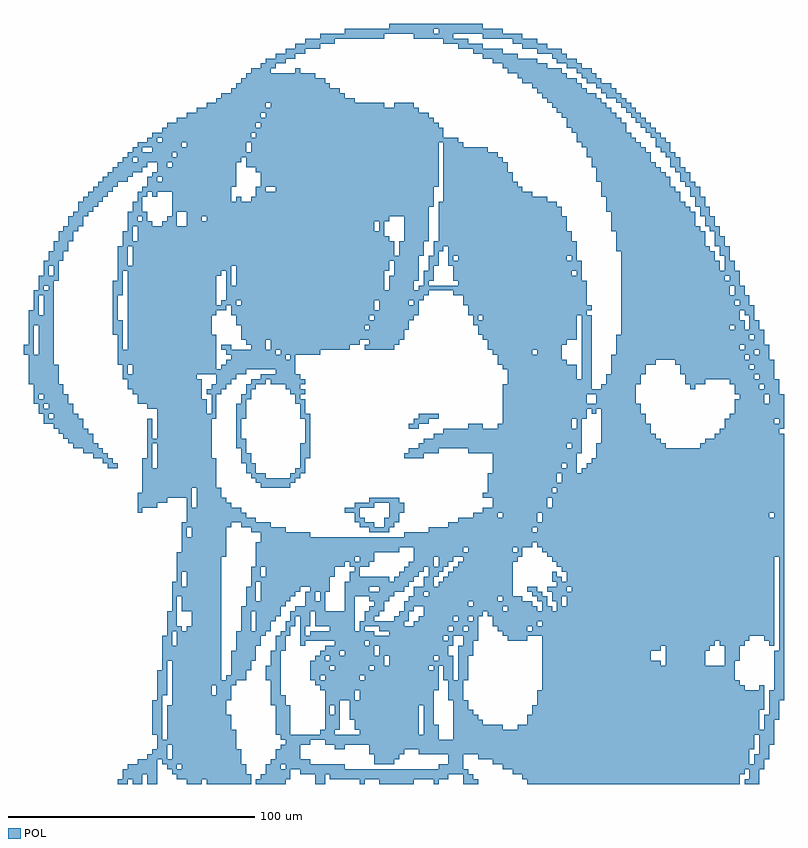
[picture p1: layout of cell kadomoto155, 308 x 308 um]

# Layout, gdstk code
import gdstk
lib = gdstk.Library(unit=1e-6, precision=1e-09)
def R(c, l, rs):  # rectangles x0, y0, x1, y1
    for r in rs: c.add(gdstk.rectangle(r[:2], r[2:], *l))
def A(c, l, x, y, w, h, nx, ny, dx, dy):  # array of equal rectangles
    R(c, l, [(x+i*dx, y+j*dy, x+i*dx+w, y+j*dy+h) for i in range(nx) for j in range(ny)])
POL = (7, 0)

kadomoto155 = lib.new_cell('kadomoto155')
A(kadomoto155, POL, 38, -310, 4, 2, 3, 1, 6, 0)
A(kadomoto155, POL, 52, -290, 4, 2, 1, 7, 0, 2)
A(kadomoto155, POL, 102, -290, 6, 2, 1, 6, 0, 2)
A(kadomoto155, POL, 58, -288, 26, 2, 1, 3, 0, 2)
A(kadomoto155, POL, 122, -288, 6, 2, 1, 3, 0, 2)
A(kadomoto155, POL, 162, -286, 4, 2, 1, 4, 0, 2)
A(kadomoto155, POL, 132, -284, 28, 2, 1, 3, 0, 2)
A(kadomoto155, POL, 302, -282, 4, 2, 1, 3, 0, 2)
A(kadomoto155, POL, 208, -278, 92, 2, 1, 3, 0, 2)
A(kadomoto155, POL, 172, -276, 6, 2, 1, 4, 0, 2)
A(kadomoto155, POL, 54, -274, 4, 2, 1, 5, 0, 2)
A(kadomoto155, POL, 100, -274, 4, 2, 1, 3, 0, 2)
A(kadomoto155, POL, 304, -272, 4, 2, 1, 8, 0, 2)
A(kadomoto155, POL, 60, -268, 20, 2, 1, 4, 0, 2)
A(kadomoto155, POL, 98, -268, 6, 2, 1, 3, 0, 2)
A(kadomoto155, POL, 170, -268, 4, 2, 1, 3, 0, 2)
A(kadomoto155, POL, 176, -268, 4, 2, 1, 5, 0, 2)
A(kadomoto155, POL, 210, -268, 78, 2, 1, 3, 0, 2)
A(kadomoto155, POL, 100, -262, 4, 2, 1, 3, 0, 2)
A(kadomoto155, POL, 260, -262, 16, 2, 1, 3, 0, 2)
A(kadomoto155, POL, 56, -260, 24, 2, 1, 3, 0, 2)
A(kadomoto155, POL, 284, -260, 6, 2, 1, 3, 0, 2)
A(kadomoto155, POL, 102, -256, 4, 2, 1, 3, 0, 2)
A(kadomoto155, POL, 306, -256, 2, 2, 1, 19, 0, 2)
A(kadomoto155, POL, 62, -254, 18, 2, 1, 3, 0, 2)
A(kadomoto155, POL, 88, -248, 4, 2, 1, 4, 0, 2)
A(kadomoto155, POL, 58, -246, 4, 2, 1, 3, 0, 2)
A(kadomoto155, POL, 68, -246, 12, 2, 1, 3, 0, 2)
A(kadomoto155, POL, 118, -246, 16, 2, 1, 3, 0, 2)
A(kadomoto155, POL, 60, -240, 2, 2, 1, 3, 0, 2)
A(kadomoto155, POL, 64, -240, 16, 2, 1, 3, 0, 2)
A(kadomoto155, POL, 130, -240, 4, 2, 1, 3, 0, 2)
A(kadomoto155, POL, 90, -236, 4, 2, 1, 3, 0, 2)
A(kadomoto155, POL, 66, -230, 14, 2, 1, 3, 0, 2)
A(kadomoto155, POL, 62, -224, 18, 2, 1, 3, 0, 2)
A(kadomoto155, POL, 64, -216, 18, 2, 1, 3, 0, 2)
A(kadomoto155, POL, 48, -190, 30, 2, 1, 4, 0, 2)
A(kadomoto155, POL, 50, -178, 2, 2, 1, 3, 0, 2)
A(kadomoto155, POL, 54, -178, 22, 2, 1, 3, 0, 2)
A(kadomoto155, POL, 112, -178, 4, 2, 1, 3, 0, 2)
A(kadomoto155, POL, 114, -172, 2, 2, 1, 5, 0, 2)
A(kadomoto155, POL, 50, -170, 2, 2, 1, 4, 0, 2)
A(kadomoto155, POL, 54, -170, 22, 2, 1, 4, 0, 2)
A(kadomoto155, POL, 86, -170, 2, 2, 1, 4, 0, 2)
A(kadomoto155, POL, 86, -162, 4, 2, 1, 3, 0, 2)
A(kadomoto155, POL, 76, -160, 2, 2, 1, 4, 0, 2)
A(kadomoto155, POL, 2, -148, 12, 2, 1, 4, 0, 2)
A(kadomoto155, POL, 226, -146, 4, 2, 1, 13, 0, 2)
A(kadomoto155, POL, 38, -140, 40, 2, 1, 3, 0, 2)
A(kadomoto155, POL, 6, -136, 6, 2, 1, 6, 0, 2)
A(kadomoto155, POL, 38, -134, 2, 2, 1, 3, 0, 2)
A(kadomoto155, POL, 42, -134, 36, 2, 1, 3, 0, 2)
A(kadomoto155, POL, 2, -132, 2, 2, 1, 4, 0, 2)
A(kadomoto155, POL, 36, -128, 4, 2, 1, 3, 0, 2)
A(kadomoto155, POL, 42, -128, 34, 2, 1, 4, 0, 2)
A(kadomoto155, POL, 36, -122, 2, 2, 1, 5, 0, 2)
A(kadomoto155, POL, 8, -120, 4, 2, 1, 4, 0, 2)
A(kadomoto155, POL, 4, -118, 2, 2, 1, 3, 0, 2)
A(kadomoto155, POL, 42, -116, 36, 2, 1, 6, 0, 2)
A(kadomoto155, POL, 36, -112, 4, 2, 1, 3, 0, 2)
A(kadomoto155, POL, 82, -108, 2, 2, 1, 3, 0, 2)
A(kadomoto155, POL, 86, -108, 60, 2, 1, 3, 0, 2)
A(kadomoto155, POL, 150, -104, 10, 2, 1, 3, 0, 2)
A(kadomoto155, POL, 38, -100, 4, 2, 1, 4, 0, 2)
A(kadomoto155, POL, 152, -96, 10, 2, 1, 3, 0, 2)
A(kadomoto155, POL, 240, -92, 36, 2, 1, 3, 0, 2)
A(kadomoto155, POL, 154, -90, 10, 2, 1, 5, 0, 2)
A(kadomoto155, POL, 168, -86, 52, 2, 1, 3, 0, 2)
A(kadomoto155, POL, 238, -84, 34, 2, 1, 3, 0, 2)
A(kadomoto155, POL, 96, -68, 72, 2, 1, 3, 0, 2)
R(kadomoto155, POL, [(66,-310,72,-308), (74,-310,92,-308), (94,-310,106,-308), (118,-310,122,-308), (136,-310,138,-308), (144,-310,158,-308), (166,-310,168,-308), (178,-310,184,-308), (204,-310,290,-308), (292,-310,298,-308), (40,-308,48,-306), (50,-308,54,-306), (62,-308,92,-306), (96,-308,108,-306), (118,-308,122,-306), (124,-308,172,-306), (178,-308,182,-306), (202,-308,290,-306), (294,-308,298,-306), (40,-306,54,-304), (60,-306,90,-304), (98,-306,108,-304), (112,-306,180,-304), (198,-306,292,-304), (294,-306,298,-304), (42,-304,54,-302), (58,-304,62,-302), (64,-304,90,-302), (98,-304,104,-302), (106,-304,130,-302), (168,-304,178,-302), (194,-304,300,-302), (46,-302,54,-300), (56,-302,88,-300), (100,-302,116,-300), (142,-302,150,-300), (172,-302,178,-300), (190,-302,294,-300), (296,-302,300,-300), (50,-300,58,-298), (60,-300,88,-298), (102,-300,112,-298), (142,-300,152,-298), (172,-300,178,-298), (184,-300,294,-298), (296,-300,302,-298), (52,-298,58,-296), (60,-298,88,-296), (102,-298,112,-296), (140,-298,154,-296), (160,-298,294,-296), (298,-298,302,-296), (54,-296,58,-294), (60,-296,86,-294), (104,-296,112,-294), (126,-296,130,-294), (140,-296,296,-294), (298,-296,302,-294), (54,-294,86,-292), (106,-294,116,-292), (122,-294,296,-292), (298,-294,304,-292), (54,-292,56,-290), (58,-292,86,-290), (104,-292,168,-290), (174,-292,296,-290), (298,-292,304,-290), (58,-290,86,-288), (120,-290,126,-288), (136,-290,160,-288), (162,-290,168,-288), (174,-290,304,-288), (134,-288,160,-286), (162,-288,168,-286), (174,-288,194,-286), (200,-288,298,-286), (300,-288,304,-286), (134,-286,160,-284), (174,-286,186,-284), (204,-286,298,-284), (300,-286,304,-284), (174,-284,184,-282), (204,-284,298,-282), (300,-284,306,-282), (58,-282,82,-280), (122,-282,124,-280), (126,-282,128,-280), (174,-282,182,-280), (206,-282,298,-280), (58,-280,82,-278), (122,-280,124,-278), (126,-280,128,-278), (174,-280,180,-278), (206,-280,300,-278), (60,-278,82,-276), (100,-278,106,-276), (122,-278,128,-276), (132,-278,166,-276), (174,-278,180,-276), (54,-276,56,-274), (60,-276,84,-274), (100,-276,106,-274), (122,-276,134,-274), (136,-276,166,-274), (302,-276,308,-274), (60,-274,76,-272), (78,-274,84,-272), (122,-274,134,-272), (136,-274,166,-272), (302,-274,308,-272), (60,-272,76,-270), (78,-272,84,-270), (120,-272,168,-270), (210,-272,292,-270), (298,-272,300,-270), (60,-270,86,-268), (118,-270,168,-268), (210,-270,290,-268), (82,-268,90,-266), (116,-268,120,-266), (122,-268,136,-266), (138,-268,168,-266), (84,-266,90,-264), (116,-266,168,-264), (56,-264,58,-262), (84,-264,92,-262), (116,-264,124,-262), (126,-264,140,-262), (142,-264,164,-262), (166,-264,168,-262), (56,-262,58,-260), (84,-262,92,-260), (116,-262,146,-260), (148,-262,174,-260), (210,-262,258,-260), (284,-262,288,-260), (84,-260,94,-258), (118,-260,122,-258), (124,-260,146,-258), (148,-260,166,-258), (168,-260,174,-258), (210,-260,254,-258), (84,-258,94,-256), (120,-258,128,-256), (130,-258,142,-256), (144,-258,172,-256), (176,-258,182,-256), (210,-258,254,-256), (86,-256,94,-254), (122,-256,142,-254), (144,-256,172,-254), (176,-256,182,-254), (210,-256,258,-254), (260,-256,278,-254), (56,-254,60,-252), (86,-254,96,-252), (112,-254,114,-252), (126,-254,138,-252), (140,-254,174,-252), (178,-254,182,-252), (210,-254,280,-252), (282,-254,292,-252), (302,-254,304,-252), (56,-252,60,-250), (86,-252,96,-250), (112,-252,170,-250), (172,-252,174,-250), (178,-252,184,-250), (196,-252,204,-250), (210,-252,294,-250), (300,-252,304,-250), (58,-250,60,-248), (86,-250,98,-248), (104,-250,108,-248), (112,-250,114,-248), (116,-250,142,-248), (148,-250,184,-248), (194,-250,304,-248), (58,-248,64,-246), (66,-248,80,-246), (94,-248,100,-246), (106,-248,108,-246), (112,-248,114,-246), (124,-248,134,-246), (136,-248,138,-246), (144,-248,172,-246), (174,-248,178,-246), (180,-248,184,-246), (192,-248,204,-246), (206,-248,304,-246), (94,-246,100,-244), (106,-246,110,-244), (112,-246,116,-244), (136,-246,154,-244), (158,-246,184,-244), (190,-246,208,-244), (210,-246,304,-244), (94,-244,102,-242), (108,-244,110,-242), (112,-244,116,-242), (138,-244,142,-242), (150,-244,156,-242), (160,-244,174,-242), (176,-244,180,-242), (182,-244,184,-242), (190,-244,304,-242), (94,-242,104,-240), (108,-242,116,-240), (138,-242,144,-240), (152,-242,156,-240), (162,-242,186,-240), (188,-242,304,-240), (88,-240,104,-238), (110,-240,122,-238), (140,-240,146,-238), (154,-240,158,-238), (162,-240,194,-238), (196,-240,208,-238), (210,-240,214,-238), (216,-240,304,-238), (90,-238,106,-236), (114,-238,122,-236), (142,-238,146,-236), (154,-238,180,-236), (182,-238,206,-236), (210,-238,212,-236), (216,-238,218,-236), (220,-238,304,-236), (96,-236,108,-234), (114,-236,118,-234), (120,-236,122,-234), (140,-236,148,-234), (156,-236,192,-234), (194,-236,202,-234), (208,-236,212,-234), (214,-236,218,-234), (220,-236,304,-234), (60,-234,80,-232), (96,-234,110,-232), (114,-234,118,-232), (120,-234,122,-232), (130,-234,150,-232), (158,-234,162,-232), (164,-234,198,-232), (206,-234,210,-232), (214,-234,304,-232), (60,-232,80,-230), (96,-232,112,-230), (116,-232,124,-230), (130,-232,140,-230), (144,-232,154,-230), (158,-232,198,-230), (204,-232,208,-230), (212,-232,220,-230), (222,-232,304,-230), (60,-230,64,-228), (92,-230,94,-228), (96,-230,124,-228), (130,-230,156,-228), (162,-230,166,-228), (168,-230,198,-228), (216,-230,304,-228), (62,-228,64,-226), (92,-228,124,-226), (132,-228,148,-226), (150,-228,158,-226), (162,-228,166,-226), (170,-228,198,-226), (214,-228,218,-226), (220,-228,304,-226), (62,-226,64,-224), (92,-226,96,-224), (98,-226,126,-224), (132,-226,136,-224), (152,-226,160,-224), (164,-226,168,-224), (172,-226,198,-224), (214,-226,216,-224), (220,-226,304,-224), (92,-224,96,-222), (98,-224,126,-222), (134,-224,136,-222), (154,-224,162,-222), (164,-224,170,-222), (174,-224,198,-222), (218,-224,304,-222), (94,-222,130,-220), (132,-222,140,-220), (156,-222,166,-220), (168,-222,172,-220), (176,-222,198,-220), (216,-222,304,-220), (94,-220,134,-218), (136,-220,142,-218), (158,-220,166,-218), (168,-220,174,-218), (178,-220,200,-218), (214,-220,304,-218), (62,-218,82,-216), (94,-218,142,-216), (158,-218,202,-216), (212,-218,308,-216), (94,-216,152,-214), (158,-216,178,-214), (180,-216,198,-214), (200,-216,202,-214), (210,-216,308,-214), (94,-214,206,-212), (208,-214,308,-212), (96,-212,308,-210), (64,-210,66,-208), (68,-210,82,-208), (96,-210,116,-208), (154,-210,308,-208), (64,-208,66,-206), (68,-208,82,-206), (92,-208,106,-206), (140,-208,148,-206), (164,-208,206,-206), (208,-208,308,-206), (64,-206,84,-204), (88,-206,100,-204), (136,-206,142,-204), (146,-206,150,-204), (172,-206,308,-204), (66,-204,94,-202), (134,-204,138,-202), (146,-204,152,-202), (176,-204,208,-202), (210,-204,308,-202), (66,-202,90,-200), (134,-202,136,-200), (148,-202,152,-200), (182,-202,192,-200), (194,-202,208,-200), (210,-202,302,-200), (304,-202,308,-200), (46,-200,48,-198), (66,-200,88,-198), (130,-200,136,-198), (148,-200,154,-198), (186,-200,308,-198), (46,-198,54,-196), (66,-198,68,-196), (70,-198,84,-196), (134,-198,142,-196), (148,-198,154,-196), (190,-198,212,-196), (214,-198,308,-196), (46,-196,58,-194), (66,-196,68,-194), (70,-196,82,-194), (140,-196,152,-194), (190,-196,212,-194), (214,-196,308,-194), (46,-194,68,-192), (70,-194,80,-192), (186,-194,308,-192), (48,-192,68,-190), (70,-192,80,-190), (188,-192,214,-190), (216,-192,308,-190), (96,-190,108,-188), (188,-190,308,-188), (94,-188,110,-186), (188,-188,216,-186), (218,-188,308,-186), (92,-186,98,-184), (108,-186,112,-184), (188,-186,216,-184), (218,-186,308,-184), (90,-184,94,-182), (110,-184,114,-182), (190,-184,224,-182), (226,-184,308,-182), (34,-182,38,-180), (48,-182,52,-180), (54,-182,78,-180), (90,-182,94,-180), (112,-182,114,-180), (190,-182,218,-180), (220,-182,224,-180), (228,-182,308,-180), (32,-180,36,-178), (48,-180,52,-178), (54,-180,78,-178), (88,-180,92,-178), (112,-180,114,-178), (190,-180,224,-178), (230,-180,308,-178), (28,-178,34,-176), (88,-178,92,-176), (154,-178,162,-176), (190,-178,224,-176), (232,-178,308,-176), (24,-176,32,-174), (88,-176,90,-174), (156,-176,168,-174), (180,-176,226,-174), (232,-176,308,-174), (20,-174,30,-172), (86,-174,90,-172), (160,-174,220,-172), (222,-174,226,-172), (232,-174,260,-172), (274,-174,308,-172), (18,-172,28,-170), (50,-172,76,-170), (86,-172,90,-170), (162,-172,226,-170), (234,-172,258,-170), (276,-172,308,-170), (16,-170,28,-168), (166,-170,226,-168), (234,-170,256,-168), (280,-170,308,-168), (14,-168,26,-166), (170,-168,226,-166), (234,-168,254,-166), (282,-168,306,-166), (12,-166,24,-164), (156,-166,160,-164), (180,-166,186,-164), (192,-166,222,-164), (224,-166,226,-164), (234,-166,254,-164), (284,-166,308,-164), (8,-164,24,-162), (158,-164,164,-162), (194,-164,222,-162), (224,-164,226,-162), (234,-164,252,-162), (284,-164,304,-162), (306,-164,308,-162), (8,-162,10,-160), (12,-162,22,-160), (54,-162,78,-160), (112,-162,116,-160), (160,-162,168,-160), (194,-162,228,-160), (234,-162,252,-160), (286,-162,308,-160), (6,-160,20,-158), (54,-160,74,-158), (112,-160,114,-158), (194,-160,228,-158), (230,-160,232,-158), (234,-160,250,-158), (288,-160,308,-158), (6,-158,8,-156), (10,-158,20,-156), (50,-158,74,-156), (112,-158,114,-156), (194,-158,250,-156), (288,-158,308,-156), (4,-156,18,-154), (46,-156,74,-154), (88,-156,90,-154), (110,-156,114,-154), (194,-156,228,-154), (232,-156,248,-154), (288,-156,300,-154), (302,-156,308,-154), (4,-154,6,-152), (8,-154,18,-152), (46,-154,72,-152), (88,-154,92,-152), (110,-154,112,-152), (194,-154,228,-152), (232,-154,248,-152), (290,-154,300,-152), (302,-154,308,-152), (4,-152,16,-150), (44,-152,72,-150), (74,-152,80,-150), (90,-152,92,-150), (108,-152,114,-150), (194,-152,248,-150), (288,-152,306,-150), (4,-150,16,-148), (42,-150,72,-148), (76,-150,82,-148), (90,-150,94,-148), (106,-150,112,-148), (194,-150,230,-148), (234,-150,248,-148), (270,-150,272,-148), (288,-150,298,-148), (300,-150,306,-148), (42,-148,72,-146), (78,-148,84,-146), (92,-148,98,-146), (100,-148,114,-146), (196,-148,230,-146), (236,-148,250,-146), (268,-148,276,-146), (286,-148,306,-146), (40,-146,70,-144), (78,-146,86,-144), (96,-146,112,-144), (196,-146,224,-144), (236,-146,250,-144), (268,-146,296,-144), (298,-146,304,-144), (40,-144,42,-142), (44,-144,90,-142), (102,-144,110,-142), (196,-144,224,-142), (238,-144,252,-142), (266,-144,304,-142), (40,-142,42,-140), (44,-142,78,-140), (80,-142,110,-140), (194,-142,224,-140), (238,-142,252,-140), (266,-142,294,-140), (296,-142,304,-140), (2,-140,12,-138), (82,-140,110,-138), (192,-140,220,-138), (238,-140,256,-138), (264,-140,304,-138), (2,-138,12,-136), (84,-138,106,-136), (108,-138,110,-136), (192,-138,218,-136), (238,-138,292,-136), (294,-138,302,-136), (0,-136,4,-134), (82,-136,102,-134), (104,-136,120,-134), (190,-136,206,-134), (208,-136,218,-134), (240,-136,296,-134), (298,-136,302,-134), (0,-134,4,-132), (80,-134,84,-132), (92,-134,98,-132), (100,-134,132,-132), (138,-134,150,-132), (188,-134,218,-132), (240,-134,290,-132), (292,-134,302,-132), (90,-132,98,-130), (100,-132,136,-130), (140,-132,152,-130), (188,-132,220,-130), (240,-132,300,-130), (88,-130,154,-128), (186,-130,224,-128), (240,-130,294,-128), (296,-130,300,-128), (88,-128,154,-126), (184,-128,224,-126), (242,-128,300,-126), (88,-126,138,-124), (140,-126,156,-124), (184,-126,224,-124), (242,-126,286,-124), (288,-126,292,-124), (294,-126,298,-124), (2,-124,12,-122), (86,-124,156,-122), (182,-124,224,-122), (242,-124,292,-122), (294,-124,298,-122), (2,-122,12,-120), (86,-122,140,-120), (142,-122,158,-120), (182,-122,184,-120), (186,-122,224,-120), (242,-122,290,-120), (294,-122,296,-120), (2,-120,6,-118), (42,-120,78,-118), (84,-120,160,-118), (180,-120,228,-118), (242,-120,290,-118), (292,-120,296,-118), (42,-118,82,-116), (84,-118,142,-116), (144,-118,160,-116), (180,-118,230,-116), (242,-118,296,-116), (80,-116,86,-114), (88,-116,142,-114), (144,-116,156,-114), (158,-116,160,-114), (178,-116,228,-114), (242,-116,288,-114), (290,-116,294,-114), (82,-114,162,-112), (178,-114,228,-112), (242,-114,294,-112), (4,-112,12,-110), (82,-112,164,-110), (174,-112,228,-110), (242,-112,286,-110), (288,-112,292,-110), (6,-110,8,-108), (10,-110,12,-108), (82,-110,146,-108), (148,-110,158,-108), (160,-110,228,-108), (242,-110,286,-108), (288,-110,292,-108), (6,-108,12,-106), (148,-108,158,-106), (162,-108,164,-106), (176,-108,228,-106), (242,-108,290,-106), (6,-106,14,-104), (38,-106,40,-104), (148,-106,160,-104), (162,-106,166,-104), (174,-106,226,-104), (242,-106,284,-104), (286,-106,290,-104), (8,-104,10,-102), (12,-104,14,-102), (38,-104,40,-102), (42,-104,80,-102), (162,-104,166,-102), (174,-104,222,-102), (224,-104,226,-102), (242,-104,290,-102), (8,-102,10,-100), (12,-102,14,-100), (38,-102,84,-100), (86,-102,148,-100), (164,-102,166,-100), (174,-102,226,-100), (242,-102,282,-100), (284,-102,288,-100), (8,-100,14,-98), (44,-100,148,-98), (164,-100,168,-98), (172,-100,226,-98), (242,-100,282,-98), (284,-100,288,-98), (10,-98,16,-96), (44,-98,160,-96), (164,-98,168,-96), (172,-98,174,-96), (176,-98,220,-96), (222,-98,224,-96), (242,-98,280,-96), (284,-98,286,-96), (10,-96,16,-94), (44,-96,150,-94), (166,-96,168,-94), (172,-96,224,-94), (242,-96,280,-94), (282,-96,286,-94), (12,-94,18,-92), (44,-94,150,-92), (166,-94,170,-92), (172,-94,224,-92), (240,-94,278,-92), (282,-94,286,-92), (12,-92,18,-90), (40,-92,150,-90), (166,-92,224,-90), (280,-92,284,-90), (14,-90,20,-88), (40,-90,44,-88), (46,-90,148,-88), (168,-90,222,-88), (280,-90,284,-88), (14,-88,20,-86), (40,-88,44,-86), (46,-88,146,-86), (168,-88,222,-86), (280,-88,282,-86), (16,-86,22,-84), (42,-86,44,-84), (46,-86,142,-84), (144,-86,146,-84), (238,-86,274,-84), (278,-86,282,-84), (18,-84,24,-82), (42,-84,52,-82), (56,-84,62,-82), (66,-84,142,-82), (144,-84,146,-82), (276,-84,280,-82), (18,-82,24,-80), (42,-82,46,-80), (48,-82,50,-80), (58,-82,62,-80), (66,-82,72,-80), (74,-82,148,-80), (276,-82,280,-80), (20,-80,26,-78), (42,-80,50,-78), (60,-80,62,-78), (66,-80,164,-78), (168,-80,218,-78), (274,-80,278,-78), (22,-78,28,-76), (44,-78,48,-76), (60,-78,164,-76), (168,-78,218,-76), (236,-78,270,-76), (274,-78,278,-76), (22,-76,30,-74), (44,-76,48,-74), (60,-76,166,-74), (168,-76,216,-74), (236,-76,268,-74), (272,-76,276,-74), (24,-74,32,-72), (46,-74,48,-72), (60,-74,84,-72), (86,-74,88,-72), (92,-74,166,-72), (170,-74,212,-72), (236,-74,266,-72), (272,-74,276,-72), (26,-72,34,-70), (46,-72,50,-70), (52,-72,54,-70), (60,-72,84,-70), (94,-72,166,-70), (170,-72,206,-70), (234,-72,266,-70), (270,-72,274,-70), (28,-70,36,-68), (48,-70,84,-68), (94,-70,98,-68), (102,-70,166,-68), (170,-70,202,-68), (234,-70,264,-68), (270,-70,274,-68), (30,-68,38,-66), (50,-68,86,-66), (170,-68,200,-66), (234,-68,262,-66), (268,-68,272,-66), (32,-66,42,-64), (50,-66,54,-64), (56,-66,86,-64), (170,-66,198,-64), (232,-66,262,-64), (266,-66,270,-64), (34,-64,44,-62), (52,-64,86,-62), (170,-64,198,-62), (232,-64,260,-62), (266,-64,270,-62), (36,-62,48,-60), (54,-62,86,-60), (94,-62,168,-60), (170,-62,196,-60), (232,-62,258,-60), (264,-62,268,-60), (38,-60,50,-58), (54,-60,58,-58), (60,-60,86,-58), (90,-60,168,-58), (170,-60,196,-58), (230,-60,256,-58), (262,-60,266,-58), (40,-58,44,-56), (46,-58,88,-56), (90,-58,168,-56), (170,-58,194,-56), (230,-58,254,-56), (262,-58,266,-56), (42,-56,60,-54), (62,-56,168,-54), (170,-56,192,-54), (228,-56,254,-54), (260,-56,264,-54), (44,-54,48,-52), (52,-54,90,-52), (92,-54,168,-52), (170,-54,188,-52), (228,-54,252,-52), (258,-54,262,-52), (46,-52,64,-50), (66,-52,90,-50), (92,-52,168,-50), (170,-52,178,-50), (226,-52,250,-50), (256,-52,262,-50), (50,-50,54,-48), (56,-50,176,-48), (224,-50,248,-48), (256,-50,260,-48), (52,-48,92,-46), (94,-48,170,-46), (224,-48,246,-46), (254,-48,258,-46), (56,-46,170,-44), (222,-46,244,-44), (252,-46,256,-44), (58,-44,94,-42), (96,-44,168,-42), (220,-44,244,-42), (250,-44,254,-42), (62,-42,166,-40), (220,-42,242,-40), (248,-42,252,-40), (66,-40,96,-38), (98,-40,164,-38), (218,-40,240,-38), (246,-40,250,-38), (70,-38,160,-36), (216,-38,238,-36), (244,-38,248,-36), (74,-36,98,-34), (100,-36,146,-34), (150,-36,158,-34), (214,-36,236,-34), (242,-36,246,-34), (78,-34,134,-32), (212,-34,234,-32), (240,-34,244,-32), (80,-32,130,-30), (210,-32,232,-30), (236,-32,242,-30), (84,-30,128,-28), (208,-30,228,-28), (234,-30,240,-28), (86,-28,124,-26), (206,-28,226,-26), (232,-28,238,-26), (88,-26,122,-24), (202,-26,224,-24), (228,-26,234,-24), (90,-24,118,-22), (200,-24,220,-22), (226,-24,232,-22), (92,-22,100,-20), (110,-22,112,-20), (196,-22,218,-20), (224,-22,230,-20), (96,-20,102,-18), (194,-20,212,-18), (220,-20,226,-18), (98,-18,106,-16), (190,-18,208,-16), (216,-18,224,-16), (102,-16,110,-14), (186,-16,200,-14), (214,-16,220,-14), (106,-14,114,-12), (182,-14,194,-12), (208,-14,218,-12), (110,-12,120,-10), (176,-12,186,-10), (202,-12,212,-10), (114,-10,126,-8), (170,-10,180,-8), (198,-10,208,-8), (120,-8,146,-6), (158,-8,174,-6), (186,-8,202,-6), (130,-6,166,-4), (168,-6,194,-4), (148,-4,186,-2)])

lib.write_gds('kadomoto155.gds')
